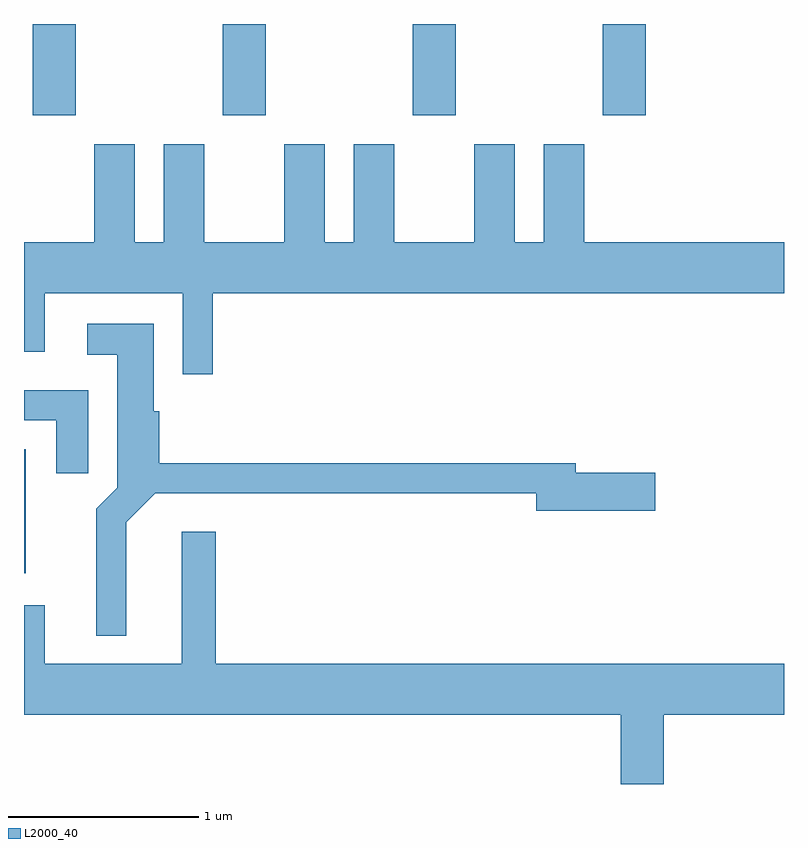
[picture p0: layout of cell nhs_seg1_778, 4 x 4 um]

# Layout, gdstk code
import gdstk
lib = gdstk.Library(unit=1e-6, precision=1e-09)
def R(c, l, rs):  # rectangles x0, y0, x1, y1
    for r in rs: c.add(gdstk.rectangle(r[:2], r[2:], *l))
def A(c, l, x, y, w, h, nx, ny, dx, dy):  # array of equal rectangles
    R(c, l, [(x+i*dx, y+j*dy, x+i*dx+w, y+j*dy+h) for i in range(nx) for j in range(ny)])
def P(c, l, *ps):  # polygons
    for p in ps: c.add(gdstk.Polygon(p, *l))
L2000_40 = (2000, 40)

nhs_seg1_778 = lib.new_cell('nhs_seg1_778')
A(nhs_seg1_778, L2000_40, 209.656, 847.231, 0.228, 0.481, 4, 1, 1, 0)
R(nhs_seg1_778, L2000_40, [(209.611,844.821,209.619,845.474)])
P(nhs_seg1_778, L2000_40, [(210.604,846.296),(213.611,846.296),(213.611,846.564),(212.559,846.564),(212.559,847.079),(212.346,847.079),(212.346,846.564),(212.194,846.564),(212.194,847.079),(211.981,847.079),(211.981,846.564),(211.559,846.564),(211.559,847.079),(211.346,847.079),(211.346,846.564),(211.194,846.564),(211.194,847.079),(210.981,847.079),(210.981,846.564),(210.559,846.564),(210.559,847.079),(210.346,847.079),(210.346,846.564),(210.194,846.564),(210.194,847.079),(209.981,847.079),(209.981,846.564),(209.611,846.564),(209.611,845.986),(209.719,845.986),(209.719,846.296),(210.446,846.296),(210.446,845.868),(210.604,845.868)],
  [(210.149,845.089),(210.302,845.241),(212.306,845.241),(212.306,845.151),(212.934,845.151),(212.934,845.349),(212.514,845.349),(212.514,845.399),(210.324,845.399),(210.324,845.674),(210.294,845.674),(210.294,846.134),(209.943,846.134),(209.943,845.971),(210.101,845.971),(210.101,845.272),(209.991,845.162),(209.991,844.493),(210.149,844.493)],
  [(209.949,845.784),(209.611,845.784),(209.611,845.626),(209.781,845.626),(209.781,845.348),(209.949,845.348)],
  [(212.979,844.076),(213.611,844.076),(213.611,844.344),(210.619,844.344),(210.619,845.039),(210.441,845.039),(210.441,844.344),(209.719,844.344),(209.719,844.654),(209.611,844.654),(209.611,844.076),(212.751,844.076),(212.751,843.712),(212.979,843.712)])

lib.write_gds('nhs_seg1_778.gds')
